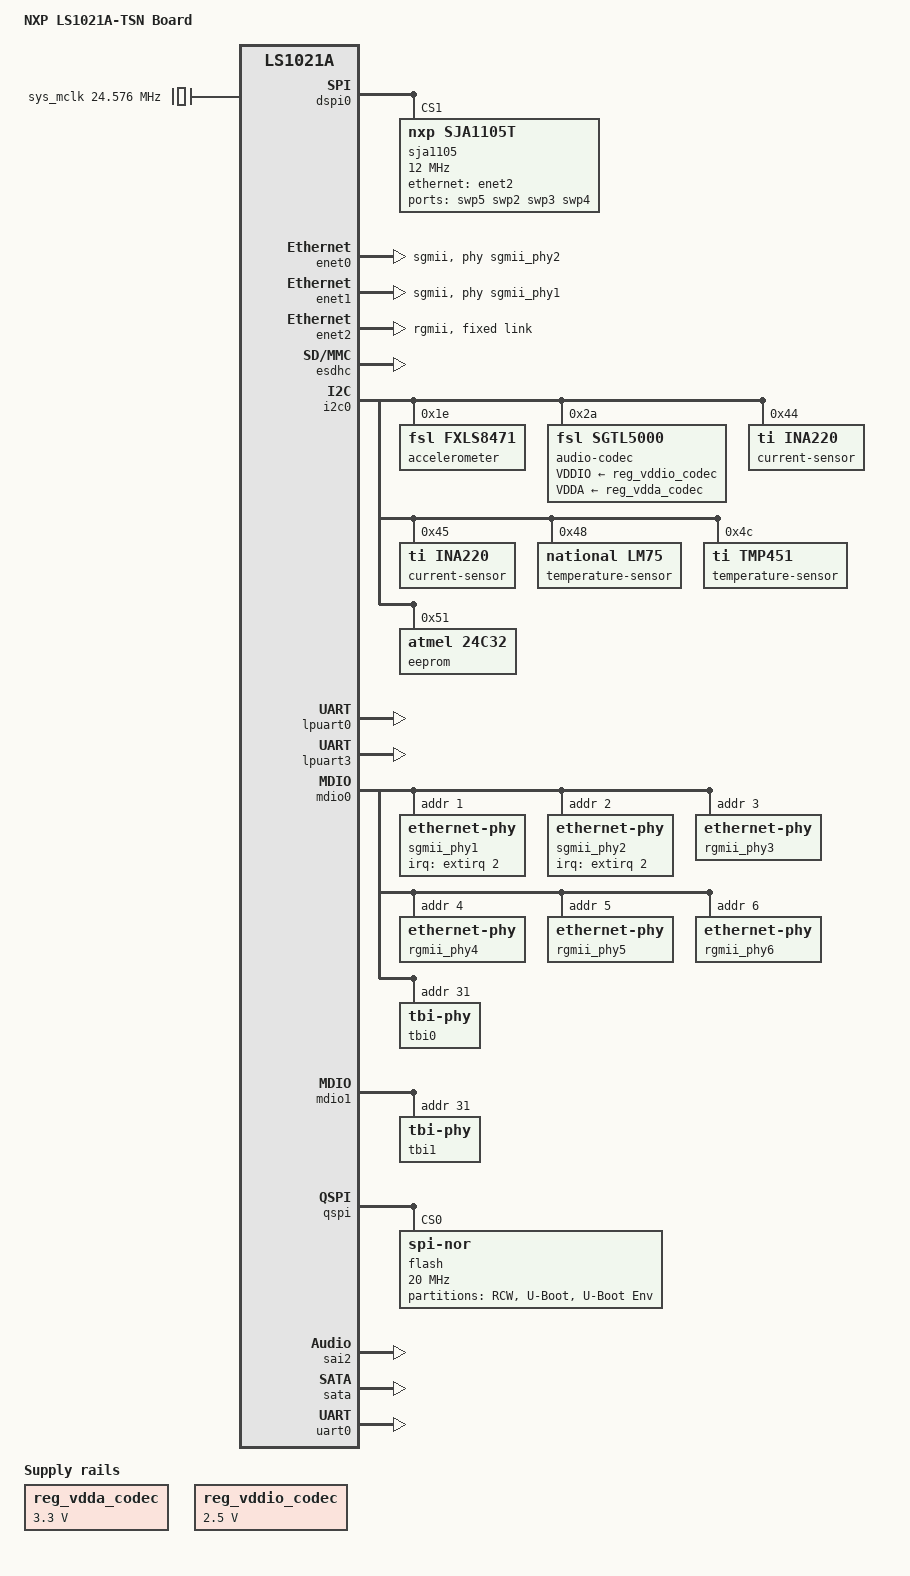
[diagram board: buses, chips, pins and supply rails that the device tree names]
// SPDX-License-Identifier: GPL-2.0
/* Copyright 2016-2018 NXP Semiconductors
 * Copyright 2019 Vladimir Oltean <olteanv@gmail.com>
 */

/dts-v1/;
#include "ls1021a.dtsi"

/ {
	model = "NXP LS1021A-TSN Board";
	compatible = "fsl,ls1021a-tsn", "fsl,ls1021a";

	sys_mclk: clock-mclk {
		compatible = "fixed-clock";
		#clock-cells = <0>;
		clock-frequency = <24576000>;
	};

	reg_vdda_codec: regulator-3V3 {
		compatible = "regulator-fixed";
		regulator-name = "3P3V";
		regulator-min-microvolt = <3300000>;
		regulator-max-microvolt = <3300000>;
		regulator-always-on;
	};

	reg_vddio_codec: regulator-2V5 {
		compatible = "regulator-fixed";
		regulator-name = "2P5V";
		regulator-min-microvolt = <2500000>;
		regulator-max-microvolt = <2500000>;
		regulator-always-on;
	};
};

&dspi0 {
	bus-num = <0>;
	status = "okay";

	/* ADG704BRMZ 1:4 SPI mux/demux */
	sja1105: ethernet-switch@1 {
		reg = <0x1>;
		#address-cells = <1>;
		#size-cells = <0>;
		compatible = "nxp,sja1105t";
		/* 12 MHz */
		spi-max-frequency = <12000000>;
		/* Sample data on trailing clock edge */
		spi-cpha;
		/* SPI controller settings for SJA1105 timing requirements */
		fsl,spi-cs-sck-delay = <1000>;
		fsl,spi-sck-cs-delay = <1000>;

		ports {
			#address-cells = <1>;
			#size-cells = <0>;

			port@0 {
				/* ETH5 written on chassis */
				label = "swp5";
				phy-handle = <&rgmii_phy6>;
				phy-mode = "rgmii-id";
				reg = <0>;
			};

			port@1 {
				/* ETH2 written on chassis */
				label = "swp2";
				phy-handle = <&rgmii_phy3>;
				phy-mode = "rgmii-id";
				reg = <1>;
			};

			port@2 {
				/* ETH3 written on chassis */
				label = "swp3";
				phy-handle = <&rgmii_phy4>;
				phy-mode = "rgmii-id";
				reg = <2>;
			};

			port@3 {
				/* ETH4 written on chassis */
				label = "swp4";
				phy-handle = <&rgmii_phy5>;
				phy-mode = "rgmii-id";
				reg = <3>;
			};

			port@4 {
				/* Internal port connected to eth2 */
				ethernet = <&enet2>;
				phy-mode = "rgmii";
				rx-internal-delay-ps = <0>;
				tx-internal-delay-ps = <0>;
				reg = <4>;

				fixed-link {
					speed = <1000>;
					full-duplex;
				};
			};
		};
	};
};

&enet0 {
	tbi-handle = <&tbi0>;
	phy-handle = <&sgmii_phy2>;
	phy-mode = "sgmii";
	status = "okay";
};

&enet1 {
	tbi-handle = <&tbi1>;
	phy-handle = <&sgmii_phy1>;
	phy-mode = "sgmii";
	status = "okay";
};

/* RGMII delays added via PCB traces */
&enet2 {
	phy-mode = "rgmii";
	status = "okay";

	fixed-link {
		speed = <1000>;
		full-duplex;
	};
};

&esdhc {
	status = "okay";
};

&i2c0 {
	status = "okay";

	/* 3 axis accelerometer */
	accelerometer@1e {
		compatible = "fsl,fxls8471";
		reg = <0x1e>;
	};

	/* Audio codec (SAI2) */
	audio-codec@2a {
		compatible = "fsl,sgtl5000";
		VDDIO-supply = <&reg_vddio_codec>;
		VDDA-supply = <&reg_vdda_codec>;
		#sound-dai-cells = <0>;
		clocks = <&sys_mclk>;
		reg = <0x2a>;
	};

	/* Current sensing circuit for 1V VDDCORE PMIC rail */
	current-sensor@44 {
		compatible = "ti,ina220";
		shunt-resistor = <1000>;
		reg = <0x44>;
	};

	/* Current sensing circuit for 12V VCC rail */
	current-sensor@45 {
		compatible = "ti,ina220";
		shunt-resistor = <1000>;
		reg = <0x45>;
	};

	/* Thermal monitor - case */
	temperature-sensor@48 {
		compatible = "national,lm75";
		reg = <0x48>;
	};

	/* Thermal monitor - chip */
	temperature-sensor@4c {
		compatible = "ti,tmp451";
		reg = <0x4c>;
	};

	eeprom@51 {
		compatible = "atmel,24c32";
		reg = <0x51>;
	};

	/* Unsupported devices:
	 * - FXAS21002C Gyroscope at 0x20
	 * - TI ADS7924 4-channel ADC at 0x49
	 */
};

&ifc {
	status = "disabled";
};

&lpuart0 {
	status = "okay";
};

&lpuart3 {
	status = "okay";
};

&mdio0 {
	/* AR8031 */
	sgmii_phy1: ethernet-phy@1 {
		reg = <0x1>;
		/* SGMII1_PHY_INT_B: connected to IRQ2, active low */
		interrupts-extended = <&extirq 2 IRQ_TYPE_LEVEL_LOW>;
	};

	/* AR8031 */
	sgmii_phy2: ethernet-phy@2 {
		reg = <0x2>;
		/* SGMII2_PHY_INT_B: connected to IRQ2, active low */
		interrupts-extended = <&extirq 2 IRQ_TYPE_LEVEL_LOW>;
	};

	/* BCM5464 quad PHY */
	rgmii_phy3: ethernet-phy@3 {
		reg = <0x3>;
	};

	rgmii_phy4: ethernet-phy@4 {
		reg = <0x4>;
	};

	rgmii_phy5: ethernet-phy@5 {
		reg = <0x5>;
	};

	rgmii_phy6: ethernet-phy@6 {
		reg = <0x6>;
	};

	/* SGMII PCS for enet0 */
	tbi0: tbi-phy@1f {
		reg = <0x1f>;
		device_type = "tbi-phy";
	};
};

&mdio1 {
	/* SGMII PCS for enet1 */
	tbi1: tbi-phy@1f {
		reg = <0x1f>;
		device_type = "tbi-phy";
	};
};

&qspi {
	status = "okay";

	flash@0 {
		/* Rev. A uses 64MB flash, Rev. B & C use 32MB flash */
		compatible = "jedec,spi-nor";
		spi-max-frequency = <20000000>;
		#address-cells = <1>;
		#size-cells = <1>;
		reg = <0>;

		partitions {
			compatible = "fixed-partitions";
			#address-cells = <1>;
			#size-cells = <1>;

			partition@0 {
				label = "RCW";
				reg = <0x0 0x40000>;
			};

			partition@40000 {
				label = "U-Boot";
				reg = <0x40000 0x300000>;
			};

			partition@340000 {
				label = "U-Boot Env";
				reg = <0x340000 0x100000>;
			};
		};
	};
};

&sai2 {
	status = "okay";
};

&sata {
	status = "okay";
};

&uart0 {
	status = "okay";
};
